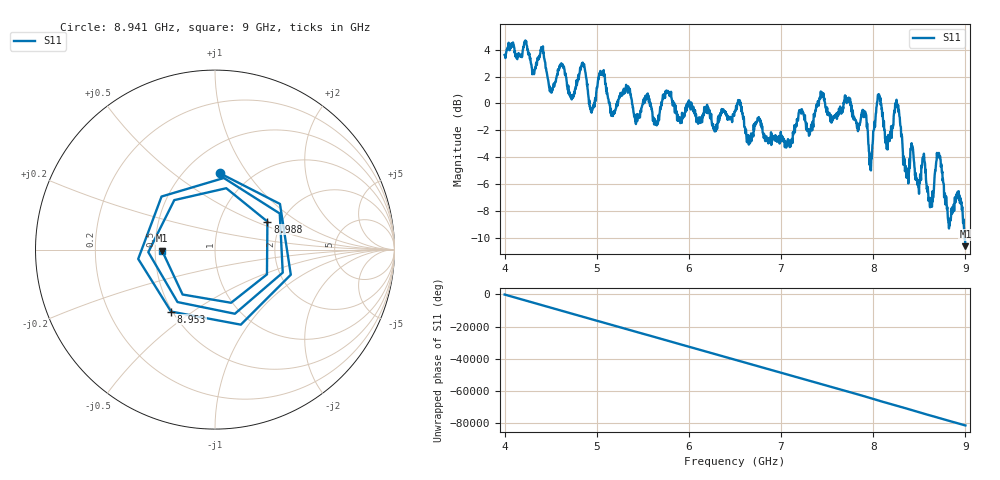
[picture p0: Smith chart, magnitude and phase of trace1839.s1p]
! Created with skrf 1.8.0 (http://scikit-rf.org).
# Hz S RI R 50.0
!freq ReS11 ImS11
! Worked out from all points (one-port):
!   1601 points, 4 GHz to 9 GHz, reference 50 ohm
!   lowest |S11| = -10.6 dB at 9 GHz (marker M1), VSWR 1.84, Z = 27.2 - j0.351 ohm
!   |S11| at or under -10 dB: 8.992201 GHz to end of sweep
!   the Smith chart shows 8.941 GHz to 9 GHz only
!   S11 on the Smith chart (normalised r, x): 8.941 GHz: 0.73, +0.75; 8.953 GHz: 0.49, -0.41; 8.988 GHz: 1.69, +0.59; 9 GHz: 0.54, -0.01
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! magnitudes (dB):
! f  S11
! 4 GHz  3.6
! 4.409 GHz  4.0
! 4.503 GHz  0.8
! 4.625 GHz  2.8
! 4.734 GHz  0.4
! 4.856 GHz  2.8
! 4.947 GHz  -0.4
! 5.05 GHz  2.1
! 5.169 GHz  -0.9
! 5.25 GHz  0.4
! 5.875 GHz  -0.8
! 6.5 GHz  -0.5
! 7.125 GHz  -2.9
! 7.75 GHz  0.3
! 7.909 GHz  -0.8
! 7.972 GHz  -4.6
! 8.059 GHz  0.6
! 8.153 GHz  -2.9
! 8.256 GHz  0.1
! 8.375 GHz  -5.4
! 8.547 GHz  -3.9
! 8.625 GHz  -7.0
! 8.709 GHz  -4.0
! 8.822 GHz  -9.3
! 8.941 GHz  -7.4
! 8.953 GHz  -7.5
! 8.988 GHz  -9.6
! 9 GHz  -10.6
